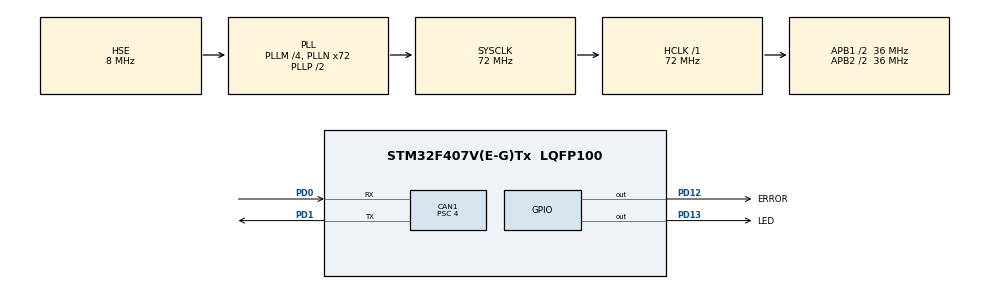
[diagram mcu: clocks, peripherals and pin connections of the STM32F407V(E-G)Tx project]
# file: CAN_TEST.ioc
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CAN1.BS1=CAN_BS1_7TQ
CAN1.CalculateBaudRate=1000000
CAN1.CalculateTimeBit=1000
CAN1.CalculateTimeQuantum=111.11111111111111
CAN1.Prescaler=4
Mcu.Family=STM32F4
Mcu.Name=STM32F407V(E-G)Tx
Mcu.Package=LQFP100
NVIC.CAN1_RX0_IRQn=true\:0\:0\:false\:false\:true\:true\:true\:true
NVIC.PriorityGroup=NVIC_PRIORITYGROUP_4
PA13.Mode=Serial_Wire
PA13.Signal=SYS_JTMS-SWDIO
PA14.Mode=Serial_Wire
PA14.Signal=SYS_JTCK-SWCLK
PB12.GPIO_PuPd=GPIO_NOPULL
PB12.Signal=CAN2_RX
PB13.Signal=CAN2_TX
PD0.Mode=CAN_Activate
PD0.Signal=CAN1_RX
PD1.Mode=CAN_Activate
PD1.Signal=CAN1_TX
PD12.GPIO_Label=ERROR
PD12.Signal=GPIO_Output
PD13.GPIO_Label=LED
PD13.Signal=GPIO_Output
PH0-OSC_IN.Mode=HSE-External-Oscillator
PH0-OSC_IN.Signal=RCC_OSC_IN
PH1-OSC_OUT.Mode=HSE-External-Oscillator
PH1-OSC_OUT.Signal=RCC_OSC_OUT
ProjectManager.HeapSize=0x200
ProjectManager.StackSize=0x400
ProjectManager.TargetToolchain=STM32CubeIDE
RCC.48MHZClocksFreq_Value=36000000
RCC.AHBFreq_Value=72000000
RCC.APB1CLKDivider=RCC_HCLK_DIV2
RCC.APB1Freq_Value=36000000
RCC.APB1TimFreq_Value=72000000
RCC.APB2CLKDivider=RCC_HCLK_DIV2
RCC.APB2Freq_Value=36000000
RCC.APB2TimFreq_Value=72000000
RCC.CortexFreq_Value=72000000
RCC.HCLKFreq_Value=72000000
RCC.HSE_VALUE=8000000
RCC.HSI_VALUE=16000000
RCC.LSE_VALUE=32768
RCC.PLLM=4
RCC.PLLN=72
RCC.PLLSourceVirtual=RCC_PLLSOURCE_HSE
RCC.SYSCLKFreq_VALUE=72000000
RCC.SYSCLKSource=RCC_SYSCLKSOURCE_PLLCLK
RCC.VCOOutputFreq_Value=144000000
board=custom

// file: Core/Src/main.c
/* USER CODE BEGIN Header */
/**
  ******************************************************************************
  * @file           : main.c
  * @brief          : Main program body
  ******************************************************************************
  * @attention
  *
  * Copyright (c) 2024 STMicroelectronics.
  * All rights reserved.
  *
  * This software is licensed under terms that can be found in the LICENSE file
  * in the root directory of this software component.
  * If no LICENSE file comes with this software, it is provided AS-IS.
  *
  ******************************************************************************
  */
/* USER CODE END Header */
#include "main.h"

CAN_HandleTypeDef hcan1;

/* USER CODE BEGIN PV */
CAN_RxHeaderTypeDef rxHeader; //CAN Bus Transmit Header
CAN_TxHeaderTypeDef txHeader; //CAN Bus Receive Header
uint8_t canRX[8] = {0,0,0,0,0,0,0,0};  //CAN Bus Receive Buffer
CAN_FilterTypeDef canfil; //CAN Bus Filter
uint32_t canMailbox; //CAN Bus Mail box variable
/* USER CODE END PV */

void SystemClock_Config(void);
static void MX_GPIO_Init(void);
static void MX_CAN1_Init(void);

int main(void)
{

  /* MCU Configuration--------------------------------------------------------*/

  /* Reset of all peripherals, Initializes the Flash interface and the Systick. */
  HAL_Init();

  /* Configure the system clock */
  SystemClock_Config();

  /* Initialize all configured peripherals */
  MX_GPIO_Init();
  MX_CAN1_Init();
  /* USER CODE BEGIN 2 */

//  canfil.FilterBank = 18;
//  canfil.FilterMode = CAN_FILTERMODE_IDMASK;
//  canfil.FilterFIFOAssignment = CAN_RX_FIFO0;
//  canfil.FilterIdHigh = 0x103<<5;
//  canfil.FilterIdLow = 0;
//  canfil.FilterMaskIdHigh = 0x103<<5;
//  canfil.FilterMaskIdLow = 0x0000;
//  canfil.FilterScale = CAN_FILTERSCALE_32BIT;
//  canfil.FilterActivation = ENABLE;
//  canfil.SlaveStartFilterBank = 20;

  canfil.FilterBank = 0;
  canfil.FilterMode = CAN_FILTERMODE_IDMASK;
  canfil.FilterFIFOAssignment = CAN_RX_FIFO0;
  canfil.FilterIdHigh = 0;
  canfil.FilterIdLow = 0;
  canfil.FilterMaskIdHigh = 0;
  canfil.FilterMaskIdLow = 0;
  canfil.FilterScale = CAN_FILTERSCALE_32BIT;
  canfil.FilterActivation = ENABLE;
  canfil.SlaveStartFilterBank = 14;

  txHeader.DLC = 8;
  txHeader.IDE = CAN_ID_STD;
  txHeader.RTR = CAN_RTR_DATA;
  txHeader.StdId = 0x030;
  txHeader.ExtId = 0x02;
  txHeader.TransmitGlobalTime = DISABLE;

  HAL_CAN_ConfigFilter(&hcan1,&canfil);
  HAL_CAN_Start(&hcan1);

  HAL_CAN_ActivateNotification(&hcan1,CAN_IT_RX_FIFO0_MSG_PENDING);
  //HAL_CAN_ActivateNotification(&hcan2,CAN_IT_RX_FIFO1_MSG_PENDING);

  uint8_t csend[] = {0x01,0x02,0x03,0x04,0x05,0x06,0x07,0x08};
  /* USER CODE END 2 */

  /* Infinite loop */
  /* USER CODE BEGIN WHILE */
  while (1)
  {
	  HAL_CAN_AddTxMessage(&hcan1,&txHeader,csend,&canMailbox);
	 HAL_GPIO_TogglePin(ERROR_GPIO_Port, ERROR_Pin);
      HAL_Delay(500);

    /* USER CODE END WHILE */

  }
}

void SystemClock_Config(void)
{
  RCC_OscInitTypeDef RCC_OscInitStruct = {0};
  RCC_ClkInitTypeDef RCC_ClkInitStruct = {0};

  /** Configure the main internal regulator output voltage
  */
  __HAL_RCC_PWR_CLK_ENABLE();
  __HAL_PWR_VOLTAGESCALING_CONFIG(PWR_REGULATOR_VOLTAGE_SCALE1);

  /** Initializes the RCC Oscillators according to the specified parameters
  * in the RCC_OscInitTypeDef structure.
  */
  RCC_OscInitStruct.OscillatorType = RCC_OSCILLATORTYPE_HSE;
  RCC_OscInitStruct.HSEState = RCC_HSE_ON;
  RCC_OscInitStruct.PLL.PLLState = RCC_PLL_ON;
  RCC_OscInitStruct.PLL.PLLSource = RCC_PLLSOURCE_HSE;
  RCC_OscInitStruct.PLL.PLLM = 4;
  RCC_OscInitStruct.PLL.PLLN = 72;
  RCC_OscInitStruct.PLL.PLLP = RCC_PLLP_DIV2;
  RCC_OscInitStruct.PLL.PLLQ = 4;
  if (HAL_RCC_OscConfig(&RCC_OscInitStruct) != HAL_OK)
  {
    Error_Handler();
  }

  /** Initializes the CPU, AHB and APB buses clocks
  */
  RCC_ClkInitStruct.ClockType = RCC_CLOCKTYPE_HCLK|RCC_CLOCKTYPE_SYSCLK
                              |RCC_CLOCKTYPE_PCLK1|RCC_CLOCKTYPE_PCLK2;
  RCC_ClkInitStruct.SYSCLKSource = RCC_SYSCLKSOURCE_PLLCLK;
  RCC_ClkInitStruct.AHBCLKDivider = RCC_SYSCLK_DIV1;
  RCC_ClkInitStruct.APB1CLKDivider = RCC_HCLK_DIV2;
  RCC_ClkInitStruct.APB2CLKDivider = RCC_HCLK_DIV2;

  if (HAL_RCC_ClockConfig(&RCC_ClkInitStruct, FLASH_LATENCY_2) != HAL_OK)
  {
    Error_Handler();
  }
}

static void MX_CAN1_Init(void)
{

  hcan1.Instance = CAN1;
  hcan1.Init.Prescaler = 4;
  hcan1.Init.Mode = CAN_MODE_NORMAL;
  hcan1.Init.SyncJumpWidth = CAN_SJW_1TQ;
  hcan1.Init.TimeSeg1 = CAN_BS1_7TQ;
  hcan1.Init.TimeSeg2 = CAN_BS2_1TQ;
  hcan1.Init.TimeTriggeredMode = DISABLE;
  hcan1.Init.AutoBusOff = DISABLE;
  hcan1.Init.AutoWakeUp = DISABLE;
  hcan1.Init.AutoRetransmission = DISABLE;
  hcan1.Init.ReceiveFifoLocked = DISABLE;
  hcan1.Init.TransmitFifoPriority = DISABLE;
  if (HAL_CAN_Init(&hcan1) != HAL_OK)
  {
    Error_Handler();
  }

}

static void MX_GPIO_Init(void)
{
  GPIO_InitTypeDef GPIO_InitStruct = {0};

  /* GPIO Ports Clock Enable */
  __HAL_RCC_GPIOH_CLK_ENABLE();
  __HAL_RCC_GPIOB_CLK_ENABLE();
  __HAL_RCC_GPIOD_CLK_ENABLE();
  __HAL_RCC_GPIOA_CLK_ENABLE();

  /*Configure GPIO pin Output Level */
  HAL_GPIO_WritePin(GPIOD, ERROR_Pin|LED_Pin, GPIO_PIN_RESET);

  /*Configure GPIO pins : PB12 PB13 */
  GPIO_InitStruct.Pin = GPIO_PIN_12|GPIO_PIN_13;
  GPIO_InitStruct.Mode = GPIO_MODE_AF_PP;
  GPIO_InitStruct.Pull = GPIO_NOPULL;
  GPIO_InitStruct.Speed = GPIO_SPEED_FREQ_VERY_HIGH;
  GPIO_InitStruct.Alternate = GPIO_AF9_CAN2;
  HAL_GPIO_Init(GPIOB, &GPIO_InitStruct);

  /*Configure GPIO pins : ERROR_Pin LED_Pin */
  GPIO_InitStruct.Pin = ERROR_Pin|LED_Pin;
  GPIO_InitStruct.Mode = GPIO_MODE_OUTPUT_PP;
  GPIO_InitStruct.Pull = GPIO_NOPULL;
  GPIO_InitStruct.Speed = GPIO_SPEED_FREQ_LOW;
  HAL_GPIO_Init(GPIOD, &GPIO_InitStruct);

}

/* USER CODE BEGIN 4 */
void HAL_CAN_WakeUpFromRxMsgCallback(CAN_HandleTypeDef *hcan2)
{
	HAL_CAN_GetRxMessage(hcan2, CAN_RX_FIFO0, &rxHeader, canRX); //Receive CAN bus message to canRX buffer
	HAL_GPIO_TogglePin(LED_GPIO_Port, LED_Pin);

}

void HAL_CAN_RxFifo0MsgPendingCallback(CAN_HandleTypeDef *hcan2)
{
	HAL_CAN_GetRxMessage(hcan2, CAN_RX_FIFO0, &rxHeader, canRX); //Receive CAN bus message to canRX buffer
	HAL_GPIO_TogglePin(LED_GPIO_Port, LED_Pin);

}

void HAL_CAN_RxFifo1MsgPendingCallback(CAN_HandleTypeDef *hcan2)
{
	HAL_CAN_GetRxMessage(hcan2, CAN_RX_FIFO1, &rxHeader, canRX); //Receive CAN bus message to canRX buffer
	HAL_GPIO_TogglePin(LED_GPIO_Port, LED_Pin);

}
void HAL_CAN_RxFifo0FullCallback(CAN_HandleTypeDef *hcan)
{
	HAL_CAN_GetRxMessage(hcan, CAN_RX_FIFO0, &rxHeader, canRX); //Receive CAN bus message to canRX buffer
	HAL_GPIO_TogglePin(LED_GPIO_Port, LED_Pin);
}
void HAL_CAN_RxFifo1FullCallback(CAN_HandleTypeDef *hcan)
{
	HAL_CAN_GetRxMessage(hcan, CAN_RX_FIFO1, &rxHeader, canRX); //Receive CAN bus message to canRX buffer
	HAL_GPIO_TogglePin(LED_GPIO_Port, LED_Pin);
}
/* USER CODE END 4 */

void Error_Handler(void)
{
}
